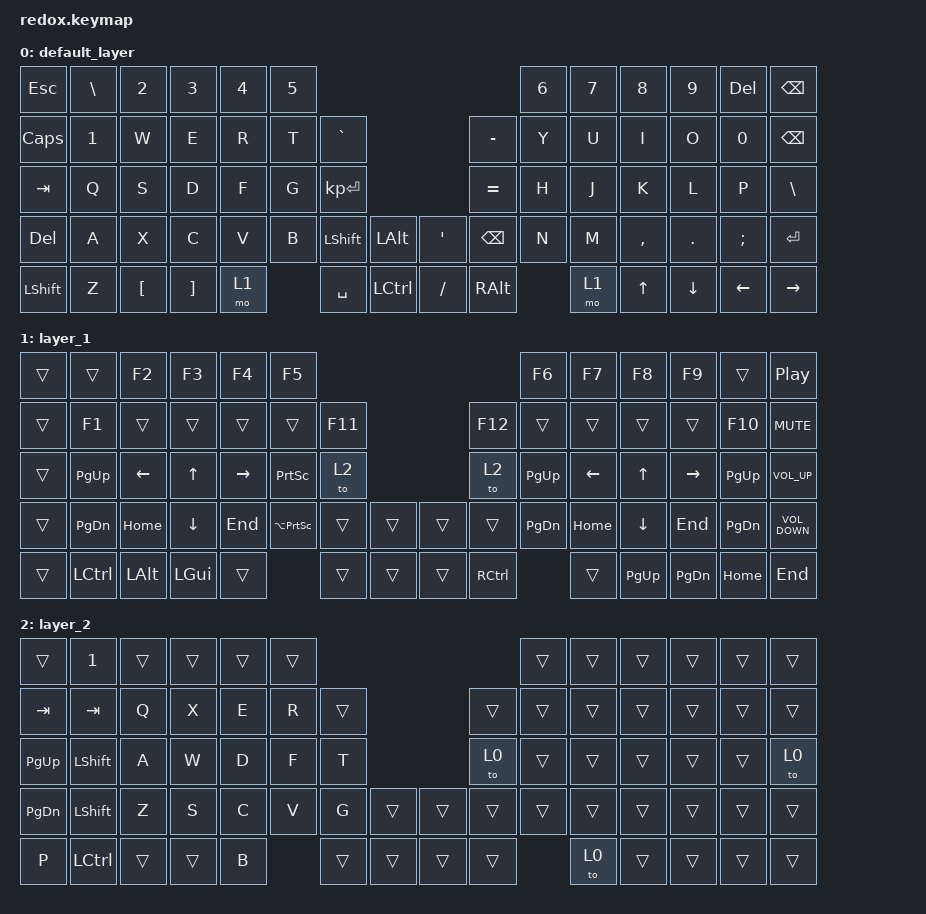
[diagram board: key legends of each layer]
/*
 * Copyright (c) 2021 The ZMK Contributors
 *
 * SPDX-License-Identifier: MIT
 */

#include <behaviors.dtsi>
#include <dt-bindings/zmk/keys.h>

/ {
    combos { compatible = "zmk,combos"; };

    keymap {
        compatible = "zmk,keymap";

        default_layer {
            // --------------------------------------------------------------------------------------------------------------------------------
            // | ESC   |  1  |  2  |   3   |  4  |  5  |                   ---                |  6    |  7    |  8    |  9   | 0  |    BSPC   |
            // | TAB   |  Q  |  W  |   E   |  R  |  T  |   (   |           ---        |  )    |  Y    |  U    |  I    |  O   | P  |     -     |
            // | CTRL  |  A  |  S  |   D   |  F  |  G  |   [   |           ---        |  ]    |  H    |  J    |  K    |  L   | ;  |     '     |
            // | SHIFT |  Z  |  X  |   C   |  V  |  B  | PG_UP | PG_DOWN | --- | HOME | END   |  N    |  M    |  ,    |  .   | /  | SHFT(RET) |
            // | CRTL  | ALT | GUI | LOWER |    GUI    | LOWER | SPACE   | --- | DEL  | SPACE |     RAISE     | LEFT  | DOWN | UP |   RIGHT   |

            bindings = <
&kp ESC         &kp BACKSLASH  &kp N2            &kp N3             &kp N4  &kp N5                                                                &kp N6  &kp N7  &kp N8        &kp N9          &kp DELETE     &kp BACKSPACE
&kp CAPSLOCK    &kp NUMBER_1   &kp W             &kp E              &kp R   &kp T   &kp GRAVE                                      &kp MINUS      &kp Y   &kp U   &kp I         &kp O           &kp N0         &kp BACKSPACE
&kp TAB         &kp Q          &kp S             &kp D              &kp F   &kp G   &kp KP_ENTER                                   &kp EQUAL      &kp H   &kp J   &kp K         &kp L           &kp P          &kp BACKSLASH
&kp DELETE      &kp A          &kp X             &kp C              &kp V   &kp B   &kp LEFT_SHIFT  &kp LEFT_ALT        &kp SQT    &kp BACKSPACE  &kp N   &kp M   &kp COMMA     &kp DOT         &kp SEMICOLON  &kp ENTER
&kp LEFT_SHIFT  &kp Z          &kp LEFT_BRACKET  &kp RIGHT_BRACKET  &mo 1           &kp SPACE       &kp LEFT_CONTROL    &kp SLASH  &kp RIGHT_ALT          &mo 1   &kp UP_ARROW  &kp DOWN_ARROW  &kp LEFT       &kp RIGHT
            >;
        };

        layer_1 {
            bindings = <
&trans  &trans         &kp F2          &kp F3          &kp F4           &kp F5                                                     &kp F6         &kp F7    &kp F8          &kp F9         &trans         &kp C_PLAY_PAUSE
&trans  &kp F1         &trans          &trans          &trans           &trans               &kp F11                    &kp F12    &trans         &trans    &trans          &trans         &kp F10        &kp C_MUTE
&trans  &kp PG_UP      &kp LEFT_ARROW  &kp UP_ARROW    &kp RIGHT_ARROW  &kp PRINTSCREEN      &to 2                      &to 2      &kp PG_UP      &kp LEFT  &kp UP_ARROW    &kp RIGHT      &kp PG_UP      &kp C_VOLUME_UP
&trans  &kp PAGE_DOWN  &kp HOME        &kp DOWN_ARROW  &kp END          &kp LA(PRINTSCREEN)  &trans   &trans    &trans  &trans     &kp PAGE_DOWN  &kp HOME  &kp DOWN_ARROW  &kp END        &kp PAGE_DOWN  &kp C_VOLUME_DOWN
&trans  &kp LCTRL      &kp LEFT_ALT    &kp LEFT_GUI    &trans                                &trans   &trans    &trans  &kp RCTRL                 &trans    &kp PAGE_UP     &kp PAGE_DOWN  &kp HOME       &kp END
            >;
        };

        layer_2 {
            bindings = <
&trans     &kp NUMBER_1    &trans  &trans  &trans  &trans                                    &trans  &trans  &trans  &trans  &trans  &trans
&kp TAB    &kp TAB         &kp Q   &kp X   &kp E   &kp R   &trans                    &trans  &trans  &trans  &trans  &trans  &trans  &trans
&kp PG_UP  &kp LEFT_SHIFT  &kp A   &kp W   &kp D   &kp F   &kp T                     &to 0   &trans  &trans  &trans  &trans  &trans  &to 0
&kp PG_DN  &kp LEFT_SHIFT  &kp Z   &kp S   &kp C   &kp V   &kp G   &trans    &trans  &trans  &trans  &trans  &trans  &trans  &trans  &trans
&kp P      &kp LCTRL       &trans  &trans  &kp B           &trans  &trans    &trans  &trans          &to 0   &trans  &trans  &trans  &trans
            >;
        };
    };
};
